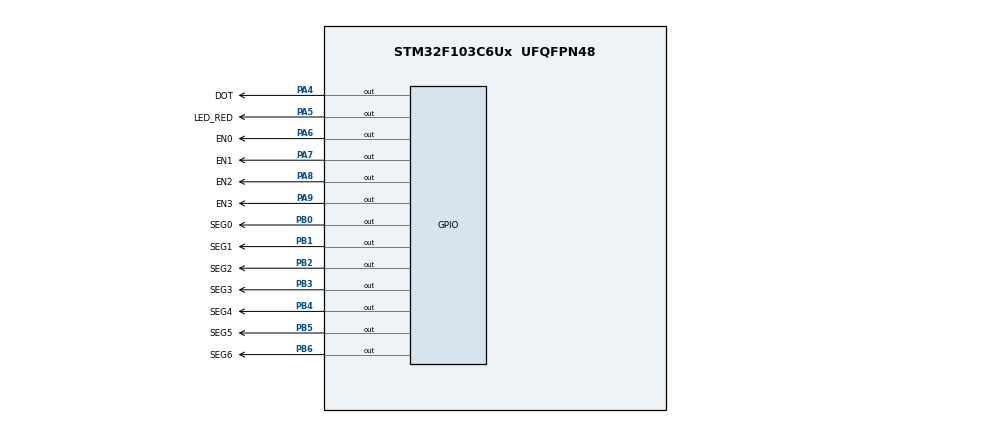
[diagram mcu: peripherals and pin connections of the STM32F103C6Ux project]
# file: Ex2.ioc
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Mcu.Family=STM32F1
Mcu.Name=STM32F103C6Ux
Mcu.Package=UFQFPN48
NVIC.PriorityGroup=NVIC_PRIORITYGROUP_4
NVIC.TIM2_IRQn=true\:0\:0\:false\:false\:true\:true\:true
PA4.GPIO_Label=DOT
PA4.Signal=GPIO_Output
PA5.GPIO_Label=LED_RED
PA5.Signal=GPIO_Output
PA6.GPIO_Label=EN0
PA6.Signal=GPIO_Output
PA7.GPIO_Label=EN1
PA7.Signal=GPIO_Output
PA8.GPIO_Label=EN2
PA8.Signal=GPIO_Output
PA9.GPIO_Label=EN3
PA9.Signal=GPIO_Output
PB0.GPIO_Label=SEG0
PB0.Signal=GPIO_Output
PB1.GPIO_Label=SEG1
PB1.Signal=GPIO_Output
PB2.GPIO_Label=SEG2
PB2.Signal=GPIO_Output
PB3.GPIO_Label=SEG3
PB3.Signal=GPIO_Output
PB4.GPIO_Label=SEG4
PB4.Signal=GPIO_Output
PB5.GPIO_Label=SEG5
PB5.Signal=GPIO_Output
PB6.GPIO_Label=SEG6
PB6.Signal=GPIO_Output
ProjectManager.HeapSize=0x200
ProjectManager.StackSize=0x400
ProjectManager.TargetToolchain=STM32CubeIDE
RCC.APB1Freq_Value=8000000
RCC.APB2Freq_Value=8000000
TIM2.Period=499
TIM2.Prescaler=7999
VP_SYS_VS_ND.Mode=No_Debug
VP_TIM2_VS_ClockSourceINT.Mode=Internal
board=custom

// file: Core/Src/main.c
/* USER CODE BEGIN Header */
/**
  ******************************************************************************
  * @file           : main.c
  * @brief          : Main program body
  ******************************************************************************
  * @attention
  *
  * <h2><center>&copy; Copyright (c) 2026 STMicroelectronics.
  * All rights reserved.</center></h2>
  *
  * This software component is licensed by ST under BSD 3-Clause license,
  * the "License"; You may not use this file except in compliance with the
  * License. You may obtain a copy of the License at:
  *                        opensource.org/licenses/BSD-3-Clause
  *
  ******************************************************************************
  */
/* USER CODE END Header */
#include "main.h"

TIM_HandleTypeDef htim2;

void SystemClock_Config(void);
static void MX_GPIO_Init(void);
static void MX_TIM2_Init(void);

/* USER CODE BEGIN 0 */
void display7SEG(int num) {
    if (num < 0 || num > 9) return;

    uint8_t segMatrix[10][7] = {
        {0, 0, 0, 0, 0, 0, 1}, // Số 0
        {1, 0, 0, 1, 1, 1, 1}, // Số 1
        {0, 0, 1, 0, 0, 1, 0}, // Số 2
        {0, 0, 0, 0, 1, 1, 0}, // Số 3
        {1, 0, 0, 1, 1, 0, 0}, // Số 4
        {0, 1, 0, 0, 1, 0, 0}, // Số 5
        {0, 1, 0, 0, 0, 0, 0}, // Số 6
        {0, 0, 0, 1, 1, 1, 1}, // Số 7
        {0, 0, 0, 0, 0, 0, 0}, // Số 8
        {0, 0, 0, 0, 1, 0, 0}  // Số 9
    };

    HAL_GPIO_WritePin(SEG0_GPIO_Port, SEG0_Pin, segMatrix[num][0]);
    HAL_GPIO_WritePin(SEG1_GPIO_Port, SEG1_Pin, segMatrix[num][1]);
    HAL_GPIO_WritePin(SEG2_GPIO_Port, SEG2_Pin, segMatrix[num][2]);
    HAL_GPIO_WritePin(SEG3_GPIO_Port, SEG3_Pin, segMatrix[num][3]);
    HAL_GPIO_WritePin(SEG4_GPIO_Port, SEG4_Pin, segMatrix[num][4]);
    HAL_GPIO_WritePin(SEG5_GPIO_Port, SEG5_Pin, segMatrix[num][5]);
    HAL_GPIO_WritePin(SEG6_GPIO_Port, SEG6_Pin, segMatrix[num][6]);
}

// Biến trạng thái quét (0 -> 1 -> 2 -> 3)
int led_index = 0;

// Biến đếm nhịp 1 giây cho đèn DOT (vì mỗi ngắt là 0.5s nên 2 lần ngắt = 1s)
int dot_counter = 0;

/* USER CODE END 0 */

int main(void)
{

  /* MCU Configuration--------------------------------------------------------*/

  /* Reset of all peripherals, Initializes the Flash interface and the Systick. */
  HAL_Init();

  /* Configure the system clock */
  SystemClock_Config();

  /* Initialize all configured peripherals */
  MX_GPIO_Init();
  MX_TIM2_Init();
  /* USER CODE BEGIN 2 */
  HAL_TIM_Base_Start_IT(&htim2);
  /* USER CODE END 2 */

  /* Infinite loop */
  while (1)
  {

  }
}

void SystemClock_Config(void)
{
  RCC_OscInitTypeDef RCC_OscInitStruct = {0};
  RCC_ClkInitTypeDef RCC_ClkInitStruct = {0};

  /** Initializes the RCC Oscillators according to the specified parameters
  * in the RCC_OscInitTypeDef structure.
  */
  RCC_OscInitStruct.OscillatorType = RCC_OSCILLATORTYPE_HSI;
  RCC_OscInitStruct.HSIState = RCC_HSI_ON;
  RCC_OscInitStruct.HSICalibrationValue = RCC_HSICALIBRATION_DEFAULT;
  RCC_OscInitStruct.PLL.PLLState = RCC_PLL_NONE;
  if (HAL_RCC_OscConfig(&RCC_OscInitStruct) != HAL_OK)
  {
    Error_Handler();
  }
  /** Initializes the CPU, AHB and APB buses clocks
  */
  RCC_ClkInitStruct.ClockType = RCC_CLOCKTYPE_HCLK|RCC_CLOCKTYPE_SYSCLK
                              |RCC_CLOCKTYPE_PCLK1|RCC_CLOCKTYPE_PCLK2;
  RCC_ClkInitStruct.SYSCLKSource = RCC_SYSCLKSOURCE_HSI;
  RCC_ClkInitStruct.AHBCLKDivider = RCC_SYSCLK_DIV1;
  RCC_ClkInitStruct.APB1CLKDivider = RCC_HCLK_DIV1;
  RCC_ClkInitStruct.APB2CLKDivider = RCC_HCLK_DIV1;

  if (HAL_RCC_ClockConfig(&RCC_ClkInitStruct, FLASH_LATENCY_0) != HAL_OK)
  {
    Error_Handler();
  }
}

static void MX_TIM2_Init(void)
{

  TIM_ClockConfigTypeDef sClockSourceConfig = {0};
  TIM_MasterConfigTypeDef sMasterConfig = {0};

  htim2.Instance = TIM2;
  htim2.Init.Prescaler = 7999;
  htim2.Init.CounterMode = TIM_COUNTERMODE_UP;
  htim2.Init.Period = 499;
  htim2.Init.ClockDivision = TIM_CLOCKDIVISION_DIV1;
  htim2.Init.AutoReloadPreload = TIM_AUTORELOAD_PRELOAD_DISABLE;
  if (HAL_TIM_Base_Init(&htim2) != HAL_OK)
  {
    Error_Handler();
  }
  sClockSourceConfig.ClockSource = TIM_CLOCKSOURCE_INTERNAL;
  if (HAL_TIM_ConfigClockSource(&htim2, &sClockSourceConfig) != HAL_OK)
  {
    Error_Handler();
  }
  sMasterConfig.MasterOutputTrigger = TIM_TRGO_RESET;
  sMasterConfig.MasterSlaveMode = TIM_MASTERSLAVEMODE_DISABLE;
  if (HAL_TIMEx_MasterConfigSynchronization(&htim2, &sMasterConfig) != HAL_OK)
  {
    Error_Handler();
  }

}

static void MX_GPIO_Init(void)
{
  GPIO_InitTypeDef GPIO_InitStruct = {0};

  /* GPIO Ports Clock Enable */
  __HAL_RCC_GPIOA_CLK_ENABLE();
  __HAL_RCC_GPIOB_CLK_ENABLE();

  /*Configure GPIO pin Output Level */
  HAL_GPIO_WritePin(GPIOA, DOT_Pin|LED_RED_Pin|EN0_Pin|EN1_Pin
                          |EN2_Pin|EN3_Pin, GPIO_PIN_RESET);

  /*Configure GPIO pin Output Level */
  HAL_GPIO_WritePin(GPIOB, SEG0_Pin|SEG1_Pin|SEG2_Pin|SEG3_Pin
                          |SEG4_Pin|SEG5_Pin|SEG6_Pin, GPIO_PIN_RESET);

  /*Configure GPIO pins : DOT_Pin LED_RED_Pin EN0_Pin EN1_Pin
                           EN2_Pin EN3_Pin */
  GPIO_InitStruct.Pin = DOT_Pin|LED_RED_Pin|EN0_Pin|EN1_Pin
                          |EN2_Pin|EN3_Pin;
  GPIO_InitStruct.Mode = GPIO_MODE_OUTPUT_PP;
  GPIO_InitStruct.Pull = GPIO_NOPULL;
  GPIO_InitStruct.Speed = GPIO_SPEED_FREQ_LOW;
  HAL_GPIO_Init(GPIOA, &GPIO_InitStruct);

  /*Configure GPIO pins : SEG0_Pin SEG1_Pin SEG2_Pin SEG3_Pin
                           SEG4_Pin SEG5_Pin SEG6_Pin */
  GPIO_InitStruct.Pin = SEG0_Pin|SEG1_Pin|SEG2_Pin|SEG3_Pin
                          |SEG4_Pin|SEG5_Pin|SEG6_Pin;
  GPIO_InitStruct.Mode = GPIO_MODE_OUTPUT_PP;
  GPIO_InitStruct.Pull = GPIO_NOPULL;
  GPIO_InitStruct.Speed = GPIO_SPEED_FREQ_LOW;
  HAL_GPIO_Init(GPIOB, &GPIO_InitStruct);

}

/* USER CODE BEGIN 4 */
void HAL_TIM_PeriodElapsedCallback(TIM_HandleTypeDef *htim)
{
    if (htim->Instance == TIM2)
    {
        // 1. Logic nhấp nháy 2 LED DOT ở giữa mỗi giây một lần (2 lần ngắt = 1 giây)
        dot_counter++;
        if (dot_counter >= 2)
        {
            HAL_GPIO_TogglePin(DOT_GPIO_Port, DOT_Pin);
            dot_counter = 0;
        }

        // 2. Logic quét 4 LED 7 đoạn: Hiển thị 1 - 2 - 3 - 0
        switch (led_index)
        {
            case 0:
                // Hiển thị số 1 lên LED 1 (EN0 = 0 bật Q1, các EN khác = 1 tắt)
                display7SEG(1);
                HAL_GPIO_WritePin(EN0_GPIO_Port, EN0_Pin, GPIO_PIN_RESET);
                HAL_GPIO_WritePin(EN1_GPIO_Port, EN1_Pin, GPIO_PIN_SET);
                HAL_GPIO_WritePin(EN2_GPIO_Port, EN2_Pin, GPIO_PIN_SET);
                HAL_GPIO_WritePin(EN3_GPIO_Port, EN3_Pin, GPIO_PIN_SET);
                led_index = 1;
                break;

            case 1:
                // Hiển thị số 2 lên LED 2 (EN1 = 0 bật Q2)
                display7SEG(2);
                HAL_GPIO_WritePin(EN0_GPIO_Port, EN0_Pin, GPIO_PIN_SET);
                HAL_GPIO_WritePin(EN1_GPIO_Port, EN1_Pin, GPIO_PIN_RESET);
                HAL_GPIO_WritePin(EN2_GPIO_Port, EN2_Pin, GPIO_PIN_SET);
                HAL_GPIO_WritePin(EN3_GPIO_Port, EN3_Pin, GPIO_PIN_SET);
                led_index = 2;
                break;

            case 2:
                // Hiển thị số 3 lên LED 3 (EN2 = 0 bật Q4)
                display7SEG(3);
                HAL_GPIO_WritePin(EN0_GPIO_Port, EN0_Pin, GPIO_PIN_SET);
                HAL_GPIO_WritePin(EN1_GPIO_Port, EN1_Pin, GPIO_PIN_SET);
                HAL_GPIO_WritePin(EN2_GPIO_Port, EN2_Pin, GPIO_PIN_RESET);
                HAL_GPIO_WritePin(EN3_GPIO_Port, EN3_Pin, GPIO_PIN_SET);
                led_index = 3;
                break;

            case 3:
                // Hiển thị số 0 lên LED 4 (EN3 = 0 bật Q3)
                display7SEG(0);
                HAL_GPIO_WritePin(EN0_GPIO_Port, EN0_Pin, GPIO_PIN_SET);
                HAL_GPIO_WritePin(EN1_GPIO_Port, EN1_Pin, GPIO_PIN_SET);
                HAL_GPIO_WritePin(EN2_GPIO_Port, EN2_Pin, GPIO_PIN_SET);
                HAL_GPIO_WritePin(EN3_GPIO_Port, EN3_Pin, GPIO_PIN_RESET);
                led_index = 0; // Quay v�? lại LED 1
                break;

            default:
                led_index = 0;
                break;
        }

        HAL_GPIO_TogglePin(LED_RED_GPIO_Port, LED_RED_Pin);
    }
}
/* USER CODE END 4 */

void Error_Handler(void)
{
  __disable_irq();
  while (1)
  {
  }
}

/************************ (C) COPYRIGHT STMicroelectronics *****END OF FILE****/
